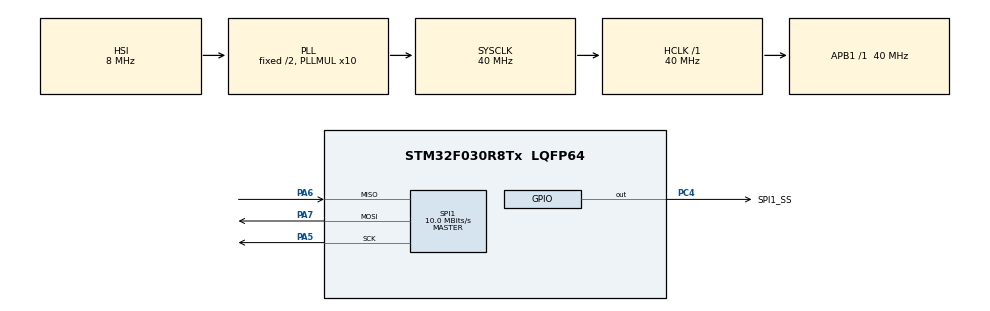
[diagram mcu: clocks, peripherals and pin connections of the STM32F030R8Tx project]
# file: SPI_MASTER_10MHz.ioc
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Mcu.Family=STM32F0
Mcu.Name=STM32F030R8Tx
Mcu.Package=LQFP64
NVIC.TIM1_BRK_UP_TRG_COM_IRQn=true\:0\:0\:false\:false\:true\:true\:true\:true
PA5.Mode=Full_Duplex_Master
PA5.Signal=SPI1_SCK
PA6.Mode=Full_Duplex_Master
PA6.Signal=SPI1_MISO
PA7.Mode=Full_Duplex_Master
PA7.Signal=SPI1_MOSI
PC4.GPIO_Label=SPI1_SS
PC4.GPIO_PuPd=GPIO_PULLUP
PC4.GPIO_Speed=GPIO_SPEED_FREQ_HIGH
PC4.PinState=GPIO_PIN_SET
PC4.Signal=GPIO_Output
ProjectManager.HeapSize=0x200
ProjectManager.StackSize=0x400
ProjectManager.TargetToolchain=STM32CubeIDE
RCC.AHBFreq_Value=40000000
RCC.APB1Freq_Value=40000000
RCC.APB1TimFreq_Value=40000000
RCC.HCLKFreq_Value=40000000
RCC.PLLMUL=RCC_PLL_MUL10
RCC.SYSCLKFreq_VALUE=40000000
RCC.SYSCLKSource=RCC_SYSCLKSOURCE_PLLCLK
SPI1.BaudRatePrescaler=SPI_BAUDRATEPRESCALER_4
SPI1.CalculateBaudRate=10.0 MBits/s
SPI1.DataSize=SPI_DATASIZE_8BIT
SPI1.Direction=SPI_DIRECTION_2LINES
SPI1.Mode=SPI_MODE_MASTER
SPI1.NSSPMode=SPI_NSS_PULSE_DISABLE
SPI1.VirtualType=VM_MASTER
TIM1.AutoReloadPreload=TIM_AUTORELOAD_PRELOAD_ENABLE
TIM1.Period=1250-1
TIM1.Prescaler=0
TIM6.Period=50000
VP_TIM1_VS_ClockSourceINT.Mode=Internal
VP_TIM6_VS_ClockSourceINT.Mode=Enable_Timer
board=custom

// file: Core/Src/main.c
/* USER CODE BEGIN Header */
/**
  ******************************************************************************
  * @file           : main.c
  * @brief          : Main program body
  ******************************************************************************
  * @attention
  *
  * Copyright (c) 2023 STMicroelectronics.
  * All rights reserved.
  *
  * This software is licensed under terms that can be found in the LICENSE file
  * in the root directory of this software component.
  * If no LICENSE file comes with this software, it is provided AS-IS.
  *
  ******************************************************************************
  */
/* USER CODE END Header */
#include "main.h"

/* USER CODE BEGIN Includes */
#include <stdbool.h>
#include <stdio.h>
#include <string.h>
/* USER CODE END Includes */

/* USER CODE BEGIN PD */

#define spiSize  20  /* Number of bytes to be transmitted */
#define spiWords 10  /* Number of words (byte pairs) to be transmitted */

#define adcWords  6  /* Number of ADC words to be received */

/* USER CODE END PD */

SPI_HandleTypeDef hspi1;

TIM_HandleTypeDef htim1;
TIM_HandleTypeDef htim6;

/* USER CODE BEGIN PV */

/* SPI TRANSMIT & RECEIVE BUFFERS*/
uint8_t txData[spiSize]; /* Transmit data buffer */
uint8_t rxData[spiSize]; /* Receive data buffer */

/* MOSI VARIABLES CONFIGURATION */
bool testMode = 1; /* testMode = 1 --> test mode, 0 --> auto mode */
bool out0     = 1; /* GPO_0 */
bool out1     = 0; /* GPO_1 */
bool out2     = 1; /* GPO_2 */

/* MISO VARIABLES */
uint8_t misoData[spiSize];   /* Buffer for obtaining the status word */
uint16_t adcData[adcWords];  /* ADC data buffer */
uint16_t adcDataCpy[adcWords] = {2180, 3125, 2180, 3125, 2180, 3125}; /* Dummy buffer for testing */

/* Benchmarking */
float elapsedTime = 0.0;

/* USER CODE END PV */

void SystemClock_Config(void);
static void MX_GPIO_Init(void);
static void MX_SPI1_Init(void);
static void MX_TIM1_Init(void);
static void MX_TIM6_Init(void);
/* USER CODE BEGIN PFP */

uint8_t* setTxData(uint8_t* txData, bool* testMode, bool* out0, bool* out1, bool* out2);
uint16_t* readADC(uint16_t* adcData);
void handleReceivedData (uint8_t* rxData, uint16_t* adcData);

/* USER CODE END PFP */

int main(void)
{

  /* MCU Configuration--------------------------------------------------------*/

  /* Reset of all peripherals, Initializes the Flash interface and the Systick. */
  HAL_Init();

  /* Configure the system clock */
  SystemClock_Config();

  /* Initialize all configured peripherals */
  MX_GPIO_Init();
  MX_SPI1_Init();
  MX_TIM1_Init();
  MX_TIM6_Init();
  /* USER CODE BEGIN 2 */

  /* CONFIIGURE THE CONTROL DATA BUFFER */

  /* Initialize the entire TX data buffer to 0. */
  for(int i = 0; i < spiSize; i++)
      txData[i] = 0;

  /* Configure data to send via SPI*/
  setTxData(txData, &testMode, &out0, &out1, &out2);

  /* Enable TIM1 interrupt */
  HAL_TIM_Base_Start_IT(&htim1);

  /* USER CODE END 2 */

  /* Infinite loop */
  while (1)
  {

  }
}

void SystemClock_Config(void)
{
  RCC_OscInitTypeDef RCC_OscInitStruct = {0};
  RCC_ClkInitTypeDef RCC_ClkInitStruct = {0};

  /** Initializes the RCC Oscillators according to the specified parameters
  * in the RCC_OscInitTypeDef structure.
  */
  RCC_OscInitStruct.OscillatorType = RCC_OSCILLATORTYPE_HSI;
  RCC_OscInitStruct.HSIState = RCC_HSI_ON;
  RCC_OscInitStruct.HSICalibrationValue = RCC_HSICALIBRATION_DEFAULT;
  RCC_OscInitStruct.PLL.PLLState = RCC_PLL_ON;
  RCC_OscInitStruct.PLL.PLLSource = RCC_PLLSOURCE_HSI;
  RCC_OscInitStruct.PLL.PLLMUL = RCC_PLL_MUL10;
  RCC_OscInitStruct.PLL.PREDIV = RCC_PREDIV_DIV1;
  if (HAL_RCC_OscConfig(&RCC_OscInitStruct) != HAL_OK)
  {
    Error_Handler();
  }

  /** Initializes the CPU, AHB and APB buses clocks
  */
  RCC_ClkInitStruct.ClockType = RCC_CLOCKTYPE_HCLK|RCC_CLOCKTYPE_SYSCLK
                              |RCC_CLOCKTYPE_PCLK1;
  RCC_ClkInitStruct.SYSCLKSource = RCC_SYSCLKSOURCE_PLLCLK;
  RCC_ClkInitStruct.AHBCLKDivider = RCC_SYSCLK_DIV1;
  RCC_ClkInitStruct.APB1CLKDivider = RCC_HCLK_DIV1;

  if (HAL_RCC_ClockConfig(&RCC_ClkInitStruct, FLASH_LATENCY_1) != HAL_OK)
  {
    Error_Handler();
  }
}

static void MX_SPI1_Init(void)
{

  /* SPI1 parameter configuration*/
  hspi1.Instance = SPI1;
  hspi1.Init.Mode = SPI_MODE_MASTER;
  hspi1.Init.Direction = SPI_DIRECTION_2LINES;
  hspi1.Init.DataSize = SPI_DATASIZE_8BIT;
  hspi1.Init.CLKPolarity = SPI_POLARITY_LOW;
  hspi1.Init.CLKPhase = SPI_PHASE_1EDGE;
  hspi1.Init.NSS = SPI_NSS_SOFT;
  hspi1.Init.BaudRatePrescaler = SPI_BAUDRATEPRESCALER_4;
  hspi1.Init.FirstBit = SPI_FIRSTBIT_MSB;
  hspi1.Init.TIMode = SPI_TIMODE_DISABLE;
  hspi1.Init.CRCCalculation = SPI_CRCCALCULATION_DISABLE;
  hspi1.Init.CRCPolynomial = 7;
  hspi1.Init.CRCLength = SPI_CRC_LENGTH_DATASIZE;
  hspi1.Init.NSSPMode = SPI_NSS_PULSE_DISABLE;
  if (HAL_SPI_Init(&hspi1) != HAL_OK)
  {
    Error_Handler();
  }
  /* USER CODE BEGIN SPI1_Init 2 */
  __HAL_SPI_ENABLE(&hspi1);
  /* USER CODE END SPI1_Init 2 */

}

static void MX_TIM1_Init(void)
{

  TIM_ClockConfigTypeDef sClockSourceConfig = {0};
  TIM_MasterConfigTypeDef sMasterConfig = {0};

  htim1.Instance = TIM1;
  htim1.Init.Prescaler = 0;
  htim1.Init.CounterMode = TIM_COUNTERMODE_UP;
  htim1.Init.Period = 1250-1;
  htim1.Init.ClockDivision = TIM_CLOCKDIVISION_DIV1;
  htim1.Init.RepetitionCounter = 0;
  htim1.Init.AutoReloadPreload = TIM_AUTORELOAD_PRELOAD_ENABLE;
  if (HAL_TIM_Base_Init(&htim1) != HAL_OK)
  {
    Error_Handler();
  }
  sClockSourceConfig.ClockSource = TIM_CLOCKSOURCE_INTERNAL;
  if (HAL_TIM_ConfigClockSource(&htim1, &sClockSourceConfig) != HAL_OK)
  {
    Error_Handler();
  }
  sMasterConfig.MasterOutputTrigger = TIM_TRGO_RESET;
  sMasterConfig.MasterSlaveMode = TIM_MASTERSLAVEMODE_DISABLE;
  if (HAL_TIMEx_MasterConfigSynchronization(&htim1, &sMasterConfig) != HAL_OK)
  {
    Error_Handler();
  }
  /* USER CODE BEGIN TIM1_Init 2 */
  __HAL_RCC_TIM1_CLK_ENABLE();
  /* USER CODE END TIM1_Init 2 */

}

static void MX_TIM6_Init(void)
{

  htim6.Instance = TIM6;
  htim6.Init.Prescaler = 0;
  htim6.Init.CounterMode = TIM_COUNTERMODE_UP;
  htim6.Init.Period = 50000;
  htim6.Init.AutoReloadPreload = TIM_AUTORELOAD_PRELOAD_DISABLE;
  if (HAL_TIM_Base_Init(&htim6) != HAL_OK)
  {
    Error_Handler();
  }

}

static void MX_GPIO_Init(void)
{
  GPIO_InitTypeDef GPIO_InitStruct = {0};

  /* GPIO Ports Clock Enable */
  __HAL_RCC_GPIOA_CLK_ENABLE();
  __HAL_RCC_GPIOC_CLK_ENABLE();

  /*Configure GPIO pin Output Level */
  HAL_GPIO_WritePin(SPI1_SS_GPIO_Port, SPI1_SS_Pin, GPIO_PIN_SET);

  /*Configure GPIO pin : SPI1_SS_Pin */
  GPIO_InitStruct.Pin = SPI1_SS_Pin;
  GPIO_InitStruct.Mode = GPIO_MODE_OUTPUT_PP;
  GPIO_InitStruct.Pull = GPIO_PULLUP;
  GPIO_InitStruct.Speed = GPIO_SPEED_FREQ_HIGH;
  HAL_GPIO_Init(SPI1_SS_GPIO_Port, &GPIO_InitStruct);

}

/* USER CODE BEGIN 4 */

/* Configuring the MOSI line bits */
uint8_t* setTxData(uint8_t* txData, bool* testMode, bool* out0, bool* out1, bool* out2)
  {

    /* Test mode is the MSbit of the CW (second byte, last bit). If it is 0, mode is automatic. If 1, mode is manual. */
    if(*testMode)
      txData[0] |= (1u << 7);
    else
      txData[0] &= ~(1u << 7);

    /* Configuring commands for GPO pins */
    if(*out0)
      txData[1] |= (1u << 0);
    else
      txData[1] &= ~(1u << 0);

    if(*out1)
      txData[1] |= (1u << 1);
    else
      txData[1] &= ~(1u << 1);

    if(*out2)
      txData[1] |= (1u << 2);
    else
      txData[1] &= ~(1u << 2);

    return txData;
   }

/* Reading the ADC data from the MISO line, by byte pairs */
uint16_t* readADC(uint16_t* adcData)
  {
     for(int i = 1; i <= adcWords; i++)
         adcData[i-1] = (uint16_t)( (uint16_t)(rxData[2*i+1] & 0x0F) << 8 | rxData[2*i] ); /* ENDIAN!!! */

     return adcData;
  }

/* Handling received data */
void handleReceivedData (uint8_t* rxData, uint16_t* adcData)
  {
      /* OBTAINING THE ENTIRE STATUS WORD */
      //memcpy(misoData, rxData, spiSize);

      /* Obtaining the latest ADC data */
      readADC(adcData);
  }

/* 31.25us timer callback function, for SPI communication */
void HAL_TIM_PeriodElapsedCallback(TIM_HandleTypeDef *htim)
{
	/* Timer 1 elapsed */
    if (htim->Instance == TIM1)
    {
          /* Benchmarking */
    	  /* Reset TIM6 counter */
    	  TIM6->CNT = 0;
          /* Start TIM6 counter */
     	  TIM6->CR1 |= TIM_CR1_CEN;

			 HAL_GPIO_WritePin(SPI1_SS_GPIO_Port, SPI1_SS_Pin, GPIO_PIN_RESET);   /* Pull SS pin LOW */

			 HAL_SPI_TransmitReceive(&hspi1, txData, rxData, spiSize, 5);         /* Transmit and receive (FULL-DUPLEX) */

			 HAL_GPIO_WritePin(SPI1_SS_GPIO_Port, SPI1_SS_Pin, GPIO_PIN_SET);     /* Pull SS pin HIGH */

			 /* Handle received data */
			 readADC(adcData);

             /* Benchmarking */
             /* Stop TIM6 counter */
    		 TIM6->CR1 &= ~TIM_CR1_CEN;
    		 /* Obtain the elapsed time */
    		 elapsedTime = TIM6->CNT*0.025; /* Elapsed time for TIM6 in microseconds */
      }

}

/* USER CODE END 4 */

void Error_Handler(void)
{
  __disable_irq();
  while (1)
  {
  }
}
